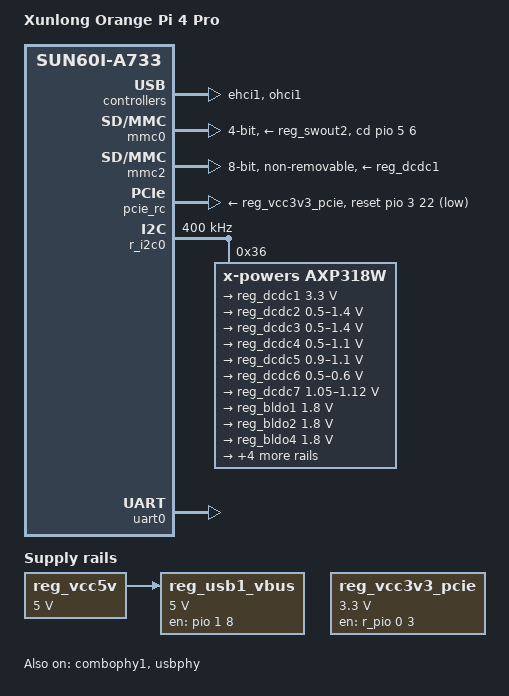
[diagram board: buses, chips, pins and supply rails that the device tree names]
// SPDX-License-Identifier: (GPL-2.0-only OR MIT)
/*
 * Copyright (C) 2026 Alastair D'Silva <alastair@d-silva.org>
 */

/dts-v1/;

#include "sun60i-a733.dtsi"

#include <dt-bindings/gpio/gpio.h>

/ {
	model = "Xunlong Orange Pi 4 Pro";
	compatible = "xunlong,orangepi-4-pro", "allwinner,sun60i-a733";

	aliases {
		serial0 = &uart0;
	};

	chosen {
		stdout-path = "serial0:115200n8";
	};

	reg_vcc5v: regulator-vcc5v {
		compatible = "regulator-fixed";
		regulator-name = "vcc-5v";
		regulator-min-microvolt = <5000000>;
		regulator-max-microvolt = <5000000>;
		regulator-always-on;
	};

	reg_usb1_vbus: regulator-usb1-vbus {
		compatible = "regulator-fixed";
		regulator-name = "usb1-vbus";
		regulator-min-microvolt = <5000000>;
		regulator-max-microvolt = <5000000>;
		vin-supply = <&reg_vcc5v>;
		gpios = <&pio 1 8 GPIO_ACTIVE_HIGH>; /* PB8 */
		enable-active-high;
	};

	reg_vcc3v3_pcie: regulator-vcc3v3-pcie {
		compatible = "regulator-fixed";
		regulator-name = "vcc3v3-pcie";
		regulator-min-microvolt = <3300000>;
		regulator-max-microvolt = <3300000>;
		gpios = <&r_pio 0 3 GPIO_ACTIVE_HIGH>; /* PL3 */
		enable-active-high;
	};
};

&ehci1 {
	status = "okay";
};

&combophy1 {
	status = "okay";
};

&mmc0 {
	vmmc-supply = <&reg_swout2>;
	cd-gpios = <&pio 5 6 (GPIO_ACTIVE_HIGH | GPIO_PULL_UP)>; /* PF6 */
	bus-width = <4>;
	status = "okay";
};

&mmc2 {
	pinctrl-names = "default";
	pinctrl-0 = <&mmc2_pins>, <&mmc2_rst_pin>;
	vmmc-supply = <&reg_dcdc1>;
	vqmmc-supply = <&reg_bldo1>;
	bus-width = <8>;
	non-removable;
	cap-mmc-hw-reset;
	mmc-ddr-1_8v;
	mmc-hs200-1_8v;
	status = "okay";
};

&ohci1 {
	status = "okay";
};

&osc {
	clock-frequency = <24000000>;
};

&pcie_rc {
	vpcie3v3-supply = <&reg_vcc3v3_pcie>;
	reset-gpios = <&pio 3 22 GPIO_ACTIVE_LOW>; /* PD22 */
	status = "okay";
};

&pio {
	vcc-pb-supply = <&reg_dcdc1>;
	vcc-pc-supply = <&reg_bldo1>;
	vcc-pf-supply = <&reg_dcdc1>;
	vcc-pg-supply = <&reg_bldo1>;
	vcc-pj-supply = <&reg_bldo2>;
	vcc-pk-supply = <&reg_bldo1>;
};

&r_i2c0 {
	pinctrl-names = "default";
	pinctrl-0 = <&r_i2c0_pl_pins>;
	clock-frequency = <400000>;
	status = "okay";

	axp318w: pmic@36 {
		compatible = "x-powers,axp318w";
		reg = <0x36>;

		regulators {
			reg_dcdc1: dcdc1 {
				regulator-name = "vcc-io";
				regulator-min-microvolt = <3300000>;
				regulator-max-microvolt = <3300000>;
				regulator-always-on;
			};

			reg_dcdc2: dcdc2 {
				regulator-name = "vdd-cpul";
				regulator-min-microvolt = <500000>;
				regulator-max-microvolt = <1400000>;
				regulator-always-on;
			};

			reg_dcdc3: dcdc3 {
				regulator-name = "vdd-cpub";
				regulator-min-microvolt = <500000>;
				regulator-max-microvolt = <1400000>;
				regulator-always-on;
			};

			reg_dcdc4: dcdc4 {
				regulator-name = "vdd-gpu";
				regulator-min-microvolt = <500000>;
				regulator-max-microvolt = <1100000>;
				regulator-always-on;
			};

			reg_dcdc5: dcdc5 {
				regulator-name = "vdd-sys";
				regulator-min-microvolt = <900000>;
				regulator-max-microvolt = <1100000>;
				regulator-always-on;
			};

			reg_dcdc6: dcdc6 {
				regulator-name = "vddq-lpddr5";
				regulator-min-microvolt = <500000>;
				regulator-max-microvolt = <600000>;
				regulator-always-on;
			};

			reg_dcdc7: dcdc7 {
				regulator-name = "vdd2-lpddr5";
				regulator-min-microvolt = <1050000>;
				regulator-max-microvolt = <1120000>;
				regulator-always-on;
			};

			reg_bldo1: bldo1 {
				regulator-name = "vcc-1v8-io";
				regulator-min-microvolt = <1800000>;
				regulator-max-microvolt = <1800000>;
				regulator-always-on;
			};

			reg_bldo2: bldo2 {
				regulator-name = "vdd1-lpddr5";
				regulator-min-microvolt = <1800000>;
				regulator-max-microvolt = <1800000>;
				regulator-always-on;
			};

			reg_bldo4: bldo4 {
				regulator-name = "vcc-1v8-audio";
				regulator-min-microvolt = <1800000>;
				regulator-max-microvolt = <1800000>;
				regulator-always-on;
			};

			reg_dldo1: dldo1 {
				regulator-name = "vcc-sd";
				regulator-min-microvolt = <3300000>;
				regulator-max-microvolt = <3300000>;
				regulator-always-on;
			};

			reg_eldo1: eldo1 {
				regulator-name = "vdd2h-lpddr5";
				regulator-min-microvolt = <1050000>;
				regulator-max-microvolt = <1100000>;
				regulator-always-on;
			};

			reg_swout1: swout1 {
				regulator-name = "vcc-ephy";
				regulator-always-on;
			};

			reg_swout2: swout2 {
				regulator-name = "vcc-gmac-io";
				regulator-always-on;
			};
		};
	};
};

&r_pio {
	vcc-pm-supply = <&reg_bldo1>;
};

/* Optional onboard SPI NOR flash footprint; unpopulated on standard SKUs. */
&spi0 {
	pinctrl-names = "default";
	pinctrl-0 = <&spi0_pc_pins>;
	status = "disabled";

	flash@0 {
		compatible = "jedec,spi-nor";
		reg = <0>;
		spi-max-frequency = <50000000>;
	};
};

&uart0 {
	pinctrl-names = "default";
	pinctrl-0 = <&uart0_pb0_pins>;
	status = "okay";
};

&usbphy {
	usb1_vbus-supply = <&reg_usb1_vbus>;
	status = "okay";
};
